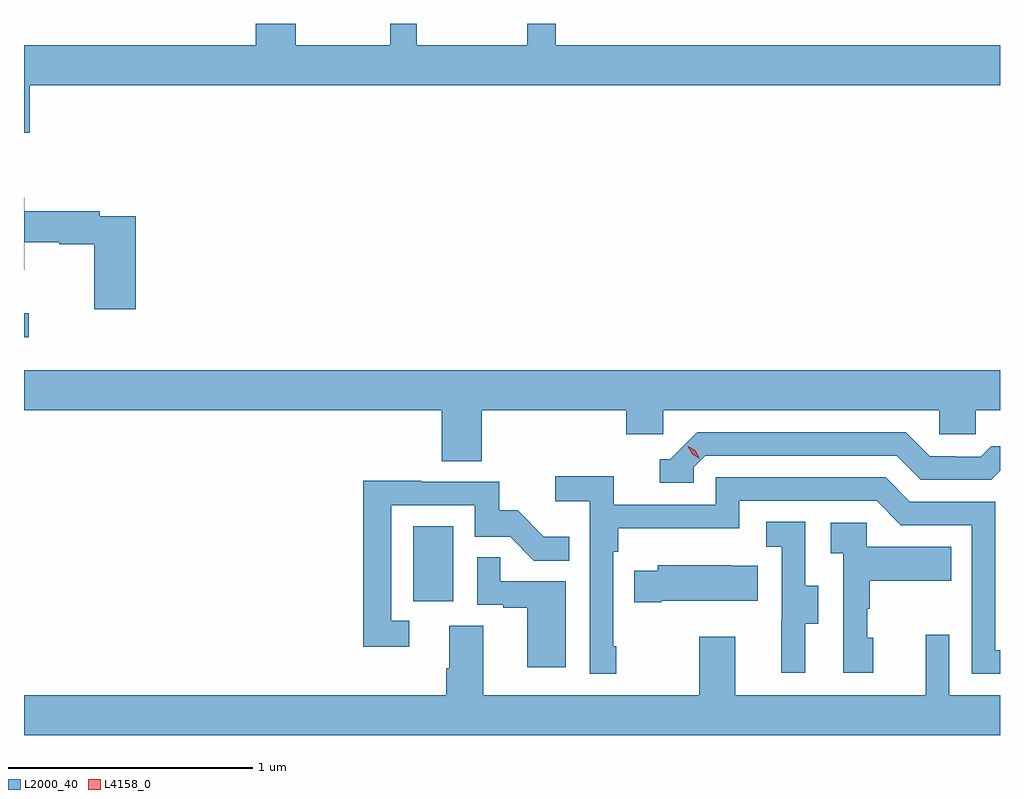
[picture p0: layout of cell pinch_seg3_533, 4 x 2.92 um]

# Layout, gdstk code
import gdstk
lib = gdstk.Library(unit=1e-6, precision=1e-09)
def R(c, l, rs):  # rectangles x0, y0, x1, y1
    for r in rs: c.add(gdstk.rectangle(r[:2], r[2:], *l))
def P(c, l, *ps):  # polygons
    for p in ps: c.add(gdstk.Polygon(p, *l))
L2000_40 = (2000, 40)
L4158_0 = (4158, 0)

pinch_seg3_533 = lib.new_cell('pinch_seg3_533')
R(pinch_seg3_533, L2000_40, [(1105.268,700.134,1105.432,700.441), (1103.673,701.216,1103.692,701.313)])
P(pinch_seg3_533, L2000_40, [(1103.696,702.248),(1107.673,702.248),(1107.673,702.412),(1105.853,702.412),(1105.853,702.501),(1105.736,702.501),(1105.736,702.412),(1105.283,702.412),(1105.283,702.501),(1105.173,702.501),(1105.173,702.412),(1104.787,702.412),(1104.787,702.501),(1104.623,702.501),(1104.623,702.412),(1103.673,702.412),(1103.673,702.054),(1103.696,702.054)],
  [(1104.131,701.712),(1103.984,701.712),(1103.984,701.732),(1103.674,701.732),(1103.674,701.788),(1103.673,701.788),(1103.673,701.492),(1103.674,701.492),(1103.674,701.604),(1103.817,701.604),(1103.817,701.596),(1103.96,701.596),(1103.96,701.331),(1104.131,701.331)],
  [(1105.55,700.916),(1106.141,700.916),(1106.141,700.818),(1106.292,700.818),(1106.292,700.916),(1107.423,700.916),(1107.423,700.818),(1107.573,700.818),(1107.573,700.916),(1107.673,700.916),(1107.673,701.08),(1103.673,701.08),(1103.673,700.916),(1105.385,700.916),(1105.385,700.708),(1105.55,700.708)],
  [(1106.418,700.683),(1106.466,700.731),(1107.249,700.731),(1107.348,700.632),(1107.637,700.632),(1107.673,700.668),(1107.673,700.768),(1107.637,700.768),(1107.595,700.725),(1107.492,700.725),(1107.492,700.728),(1107.385,700.728),(1107.286,700.827),(1106.433,700.827),(1106.322,700.716),(1106.279,700.716),(1106.279,700.62),(1106.418,700.62)],
  [(1106.101,699.949),(1106.088,699.949),(1106.088,700.337),(1106.108,700.337),(1106.108,700.433),(1106.604,700.433),(1106.604,700.545),(1107.168,700.545),(1107.267,700.446),(1107.558,700.446),(1107.558,699.837),(1107.673,699.837),(1107.673,699.933),(1107.654,699.933),(1107.654,700.542),(1107.304,700.542),(1107.205,700.641),(1106.508,700.641),(1106.508,700.53),(1106.09,700.53),(1106.09,700.646),(1105.851,700.646),(1105.851,700.544),(1105.992,700.544),(1105.992,699.837),(1106.101,699.837)],
  [(1105.252,700.053),(1105.179,700.053),(1105.179,700.527),(1105.521,700.527),(1105.521,700.398),(1105.665,700.398),(1105.763,700.3),(1105.907,700.3),(1105.907,700.399),(1105.803,700.399),(1105.696,700.506),(1105.62,700.506),(1105.62,700.623),(1105.301,700.623),(1105.301,700.628),(1105.063,700.628),(1105.063,699.948),(1105.252,699.948)],
  [(1106.875,700.042),(1106.929,700.042),(1106.929,700.197),(1106.874,700.197),(1106.874,700.46),(1106.715,700.46),(1106.715,700.357),(1106.778,700.357),(1106.778,700.053),(1106.777,700.053),(1106.777,699.84),(1106.875,699.84)],
  [(1107.154,699.984),(1107.129,699.984),(1107.129,700.103),(1107.139,700.103),(1107.139,700.217),(1107.473,700.217),(1107.473,700.357),(1107.126,700.357),(1107.126,700.455),(1106.979,700.455),(1106.979,700.331),(1107.03,700.331),(1107.03,699.84),(1107.154,699.84)],
  [(1105.894,700.215),(1105.625,700.215),(1105.625,700.313),(1105.53,700.313),(1105.53,700.119),(1105.637,700.119),(1105.637,700.107),(1105.736,700.107),(1105.736,699.864),(1105.894,699.864)],
  [(1106.284,700.136),(1106.681,700.136),(1106.681,700.279),(1106.573,700.279),(1106.573,700.282),(1106.271,700.282),(1106.271,700.258),(1106.173,700.258),(1106.173,700.129),(1106.284,700.129)],
  [(1107.673,699.748),(1107.465,699.748),(1107.465,699.997),(1107.368,699.997),(1107.368,699.748),(1106.587,699.748),(1106.587,699.988),(1106.44,699.988),(1106.44,699.748),(1105.555,699.748),(1105.555,700.034),(1105.415,700.034),(1105.415,699.86),(1105.403,699.86),(1105.403,699.748),(1103.673,699.748),(1103.673,699.584),(1107.673,699.584)])
P(pinch_seg3_533, L4158_0, [(1106.442,700.718),(1106.411,700.736),(1106.394,700.768),(1106.394,700.769),(1106.395,700.769),(1106.426,700.75),(1106.442,700.718),(1106.442,700.718)])

lib.write_gds('pinch_seg3_533.gds')
